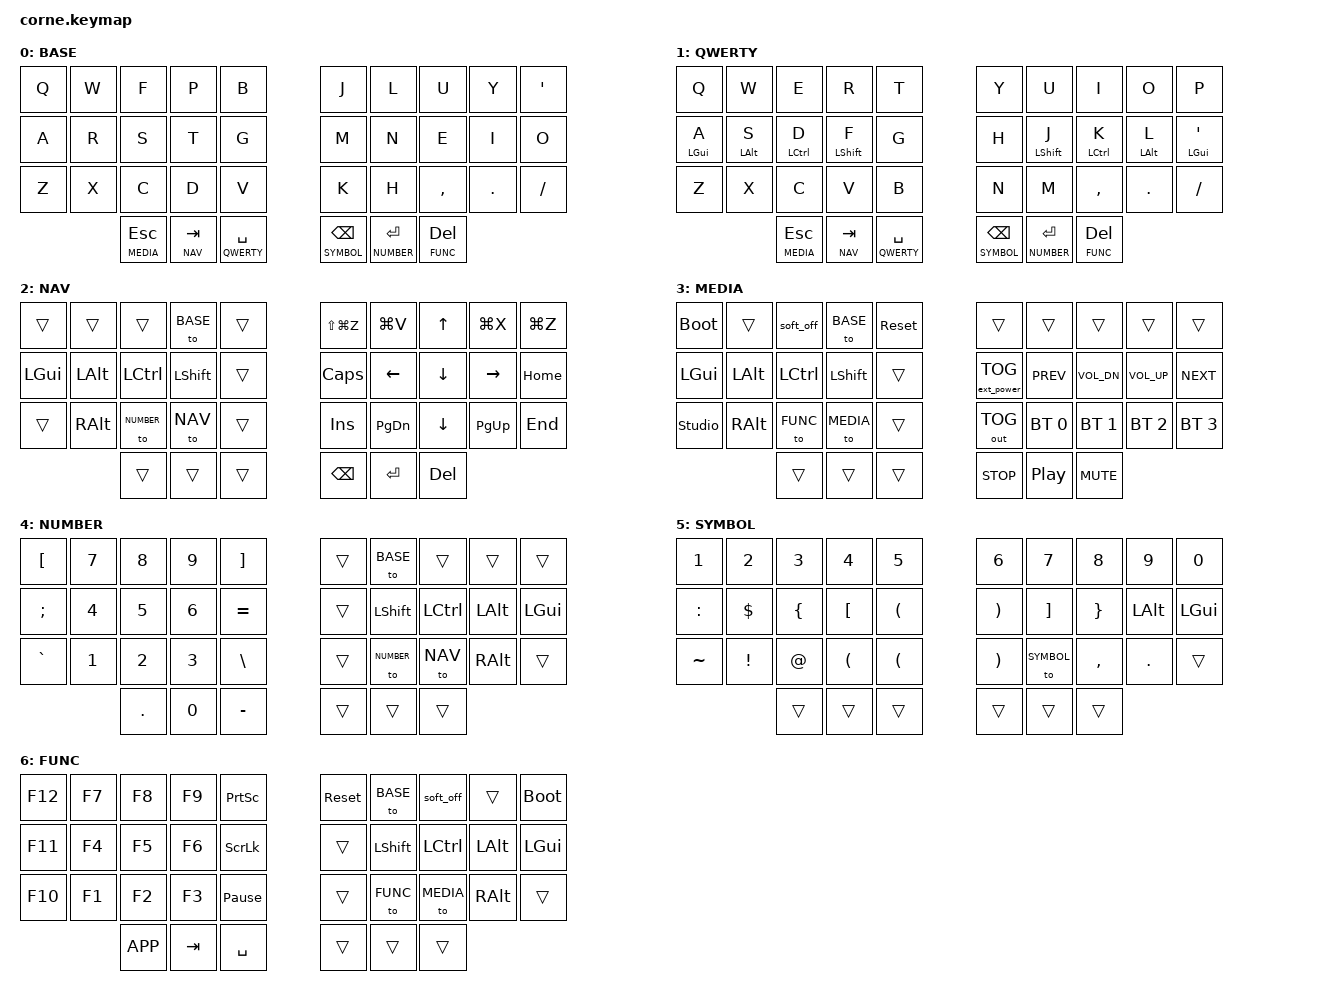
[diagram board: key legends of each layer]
/*
 * Copyright (c) 2020 The ZMK Contributors
 *
 * SPDX-License-Identifier: MIT
 */

#define HOST_OS 2

#include <dt-bindings/zmk/mouse.h>
#include "keys_pt.h"
#include "keys_fr.h"
#include "zmk-helpers/helper.h"
#include <behaviors.dtsi>
#include <dt-bindings/zmk/bt.h>
#include <dt-bindings/zmk/ext_power.h>
#include <dt-bindings/zmk/keys.h>
#include <dt-bindings/zmk/outputs.h>
#include <dt-bindings/zmk/pointing.h>

#define BASE	0
#define QWERTY	1
#define NAV 	2
#define MEDIA	3
#define NUMBER	4
#define SYMBOL	5
#define FUNC	6

#define UNDO LG(Z)
#define CUT LG(X)
#define COPY LG(C)
#define PASTE LG(V)
#define REDO LS(LG(Z))

/ {
	chosen { zmk,physical-layout = &foostan_corne_5col_layout; };

	behaviors {
		compatible = "zmk,behaviors";

		rpi: require_prior_idle {
		compatible = "zmk,behavior-hold-tap";
		#binding-cells = <2>;
		flavor = "tap-preferred";
		tapping-term-ms = <200>;
		quick-tap-ms = <200>;
		require-prior-idle-ms = <125>;
		bindings = <&kp>, <&kp>;
	};	
	};

	combos {
	compatible	= "zmk,combos";

	e_circumflex {
	bindings	= <&kp GRAVE>;
	key-positions	 = <7 17>;
	};

	c_cedilla {
	bindings	= <&kp PT_C_CEDILLA>;
	key-positions	 = <12 22>;
	};

	reboot_left {
	bindings	= <&sys_reset>;
	key-positions	 = <0 20>;
	};

	bootloader_left {
	bindings	= <&bootloader>;
	key-positions	 = <4 24>;
	};

	reboot_right {
	bindings	= <&sys_reset>;
	key-positions	 = <9 29>;
	};

	bootloader_right {
	bindings	= <&bootloader>;
	key-positions	 = <5 25>;
	};

	copy {
	bindings	= <&kp COPY>;
	key-positions 	= <21 22>;
	};

	paste {
	bindings	= <&kp PASTE>;
	key-positions 	= <22 23>;
	};
	
	cut {
	bindings	= <&kp CUT>;
	key-positions 	= <21 23>;
	};
	
	undo {
	bindings	= <&kp UNDO>;
	key-positions 	= <11 12>;
	};
	
	redo {
	bindings	= <&kp REDO>;
	key-positions 	= <12 13>;
	};
	
	};

	keymap {
	compatible	= "zmk,keymap";

//	╭────────────────────┬────────────────────╮
//	│  0   1   2   3   4 │  5   6   7   8   9 │
//	│ 10  11  12  13  14 │ 15  16  17  18  19 │
//	│ 20  21  22  23  24 │ 25  26  27  28  29 │
//	╰───────╮ 30  31  32 │ 33  34  35 ╭───────╯
//			╰────────────┴────────────╯
// ------------------------------------------------------------------
// |  Q  |  W  |  E  |  F  |  P  |   |  J  |  L   |  U  |  Y  | ' " |
// |  A  |  R  |  S  |  T  |  G  |   |  M  |  N   |  E  |  I  |  O  |
// |  Z  |  X  |  C  |  V  |  V  |   |  K  |  H   |  ,  |  .  |  /  |
//             | ESC | TAB | SPC |   | BCK | RET  | DEL |
// ------------------------------------------------------------------

	BASE {
	display-name = "BASE";
	bindings	= <
	&kp Q			&kp W			&kp F			&kp P			&kp B					&kp J			&kp L			&kp U			&kp Y			&kp SQT
	&kp A			&kp R			&kp S			&kp T			&kp G	 				&kp M			&kp N			&kp E			&kp I			&kp O
	&kp Z	 		&kp X	 		&kp C	 		&kp D			&kp V	 				&kp K			&kp H	 		&kp COMMA		&kp DOT	 		&kp SLASH
									&lt MEDIA ESC	&lt NAV	TAB		&lt QWERTY SPACE		&lt SYMBOL BSPC	&lt NUMBER RET	&lt FUNC DEL
	>;
	};

	QWERTY {
	display-name = "QWERTY";
	bindings	= <
	&kp Q	 		&kp W	 		&kp E	 		&kp R	 		&kp T	 				&kp Y			&kp U	 		&kp I	 		&kp O	 		&kp P
	&mt LGUI A		&mt LALT S		&mt LCTRL D	 	&mt LSHFT F	 	&kp G	 				&kp H			&mt LSHFT J	 	&mt LCTRL K	 	&mt LALT L		&mt LGUI SQT
	&kp Z	 		&kp X	 		&kp C	 		&kp V	 		&kp B	 				&kp N			&kp M	 		&kp COMMA	 	&kp DOT	 		&kp SLASH
									&lt MEDIA ESC	&lt NAV	TAB		&lt QWERTY SPACE		&lt SYMBOL BSPC	&lt NUMBER RET	&lt FUNC DEL
	>;
	};

	NAV	{
	display-name = "NAV";
	bindings	= <
	&trans			&trans			&trans			&to BASE		&trans					&kp REDO		&kp PASTE		&kp UP			&kp CUT			&kp UNDO
	&kp LGUI		&kp LALT		&kp LCTRL		&kp LSHFT		&trans					&kp CAPS		&kp LEFT		&kp DOWN		&kp RIGHT		&kp HOME
	&trans			&kp RALT		&to NUMBER		&to NAV			&trans					&kp INS			&kp PG_DN	 	&kp DOWN	 	&kp PG_UP		&kp END
									&trans			&trans			&trans					&kp BSPC		&kp RET			&kp DEL
	>;
	};

	MEDIA {
	display-name = "MEDIA";
	bindings	= <
	&bootloader	 	&trans			&soft_off		&to BASE	 	&sys_reset				&trans		 	&trans			&trans			&trans			&trans
	&kp LGUI		&kp LALT		&kp LCTRL		&kp LSHFT		&trans					&ext_power EP_TOG	&kp C_PREV	&kp C_VOL_DN	&kp C_VOL_UP	&kp C_NEXT
	&studio_unlock	&kp RALT		&to FUNC		&to MEDIA		&trans					&out OUT_TOG	&bt BT_SEL 0	&bt BT_SEL 1	&bt BT_SEL 2	&bt BT_SEL 3
									&trans			&trans			&trans					&kp C_STOP	 	&kp C_PP		&kp C_MUTE
	>;
	};

	NUMBER {
	display-name = "NUMBER";
	bindings	= <
	&kp LBKT		&kp N7			&kp N8			&kp N9			&kp RBKT	 			&trans			&to BASE		&trans			&trans			&trans
	&kp SEMI		&kp N4			&kp N5			&kp N6			&kp EQUAL				&trans			&kp LSHFT		&kp LCTRL	 	&kp LALT		&kp LGUI
	&kp GRAVE		&kp N1			&kp N2			&kp N3			&kp BSLH	 			&trans			&to NUMBER	 	&to NAV	 		&kp RALT		&trans
	 								&kp DOT			&kp N0			&kp MINUS				&trans			&trans	 		&trans
	>;
	};

	SYMBOL {
	display-name = "SYMBOL";
	bindings	= <
	&kp N1	 		&kp N2			&kp N3			&kp N4	 		&kp N5	 				&kp N6			&kp N7			&kp N8			&kp N9			&kp N0
	&kp COLON		&kp DLLR		&kp LBRC		&kp LBKT		&kp LPAR	 			&kp RPAR		&kp RBKT		&kp RBRC	 	&kp LALT		&kp LGUI
	&kp TILDE		&kp EXCL		&kp AT	 		&kp LPAR	 	&kp LPAR	 			&kp RPAR		&to SYMBOL	 	&kp COMMA		&kp DOT			&trans
									&trans		 	&trans		 	&trans					&trans			&trans	 		&trans
	>;
	};

	FUNC {
	display-name = "FUNC";
	bindings	= <
	&kp F12			&kp F7			&kp F8	 		&kp F9	 		&kp PSCRN				&sys_reset		&to BASE		&soft_off		&trans			&bootloader
	&kp F11			&kp F4			&kp F5	 		&kp F6	 		&kp SLCK	 			&trans			&kp LSHFT		&kp LCTRL	 	&kp LALT		&kp LGUI
	&kp F10			&kp F1			&kp F2	 		&kp F3	 		&kp PAUSE_BREAK			&trans			&to FUNC	 	&to MEDIA		&kp RALT		&trans
	 								&kp K_APP		&kp TAB			&kp SPACE				&trans			&trans	 		&trans
	>;
	};
	};
};
